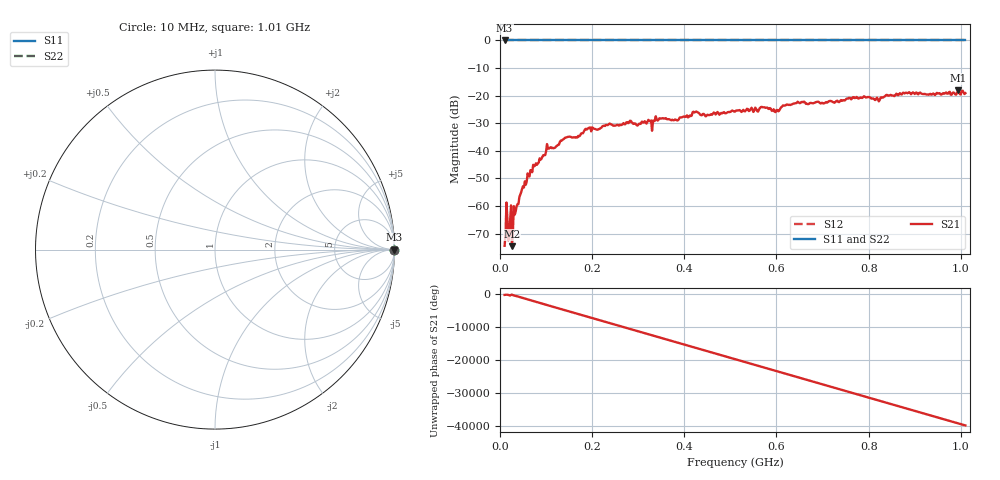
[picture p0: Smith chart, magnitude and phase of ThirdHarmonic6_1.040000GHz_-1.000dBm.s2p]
! 8/16/2025 9:01:38 AM
! C:\ANRITSUVNA\TEMP\TEMP.S2P
! CHANNEL.1
! TR.MEASUREMENT
! RAW.DATA
! RF.CORRECTION.OFF
! AVERAGING.OFF
! IF.BANDWIDTH: 5KHZ
! SWEEPTYPE:  FREQ.SWEEP(Linear)
! Reference Plane Port Info
! PORT:  PORT1  PORT2
! DISTANCE:  0  m  0  m
! TIME:  0  s  0  s
! PHASE.OFFSET:  0  deg.  0  deg.
! LOSS:  0  dB  0  dB
! REF.LOSS:  0  dB  0  dB
! REF.FREQ:  0  Hz  0  Hz
! Power Info
! POWER:  -20  dBm  -20  dBm
! EFF.POWER:  -20  dBm  -20  dBm
! SOURCE.ATTEN:  0  dB  0  dB
! TEST.ATTEN:  0  dB  0  dB
# GHZ S RI R 50.0
! FREQ.GHZ  S11RE  S11IM  S21RE  S21IM  S12RE  S12IM  S22RE  S22IM
!; PortSelection: Port_12
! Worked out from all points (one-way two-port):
!   501 points, 10 MHz to 1.01 GHz, reference 50 ohm
!   highest |S21| = -18.08 dB at 994 MHz (marker M1); lowest = -74.5 dB at 26 MHz (marker M2)
!   lowest |S11| = 0.0 dB at 10 MHz (marker M3)
!   |S11| at or under -10 dB: nowhere
!   |S22| runs from 0.0 to 0.0 dB; largest |S21 - S12| = 1.1
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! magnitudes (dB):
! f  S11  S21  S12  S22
! 10 MHz  0.0  -74.4  0.0  0.0
! 18 MHz  0.0  -72.4  0.0  0.0
! 22 MHz  0.0  -65.3  0.0  0.0
! 26 MHz  0.0  -74.5  0.0  0.0
! 30 MHz  0.0  -60.0  0.0  0.0
! 34 MHz  0.0  -62.0  0.0  0.0
! 64 MHz  0.0  -49.3  0.0  0.0
! 104 MHz  0.0  -39.1  0.0  0.0
! 178 MHz  0.0  -33.6  0.0  0.0
! 234 MHz  0.0  -30.7  0.0  0.0
! 344 MHz  0.0  -28.8  0.0  0.0
! 382 MHz  0.0  -28.7  0.0  0.0
! 422 MHz  0.0  -26.1  0.0  0.0
! 450 MHz  0.0  -26.9  0.0  0.0
! 510 MHz  0.0  -25.8  0.0  0.0
! 570 MHz  0.0  -24.2  0.0  0.0
! 600 MHz  0.0  -25.3  0.0  0.0
! 618 MHz  0.0  -23.6  0.0  0.0
! 678 MHz  0.0  -22.8  0.0  0.0
! 844 MHz  0.0  -20.0  0.0  0.0
! 994 MHz  0.0  -18.1  0.0  0.0
! 1.01 GHz  0.0  -19.1  0.0  0.0
